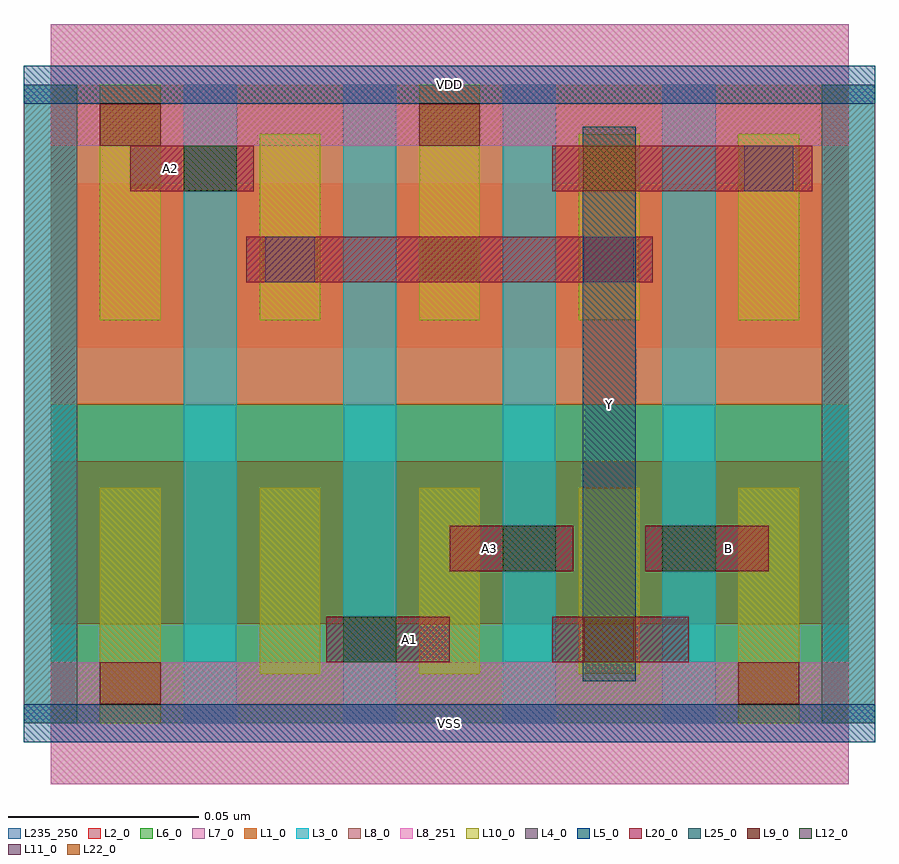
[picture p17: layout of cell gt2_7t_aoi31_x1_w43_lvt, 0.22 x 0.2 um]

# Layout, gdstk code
import gdstk
lib = gdstk.Library(unit=1e-6, precision=5e-10)
def R(c, l, rs):  # rectangles x0, y0, x1, y1
    for r in rs: c.add(gdstk.rectangle(r[:2], r[2:], *l))
def A(c, l, x, y, w, h, nx, ny, dx, dy):  # array of equal rectangles
    R(c, l, [(x+i*dx, y+j*dy, x+i*dx+w, y+j*dy+h) for i in range(nx) for j in range(ny)])
L1_0 = (1, 0)
L2_0 = (2, 0)
L3_0 = (3, 0)
L4_0 = (4, 0)
L5_0 = (5, 0)
L6_0 = (6, 0)
L7_0 = (7, 0)
L8_0 = (8, 0)
L8_251 = (8, 251)
L9_0 = (9, 0)
L10_0 = (10, 0)
L11_0 = (11, 0)
L12_0 = (12, 0)
L20_0 = (20, 0)
L22_0 = (22, 0)
L25_0 = (25, 0)
L235_250 = (235, 250)

gt2_7t_aoi31_x1_w43_lvt = lib.new_cell('gt2_7t_aoi31_x1_w43_lvt')
R(gt2_7t_aoi31_x1_w43_lvt, L1_0, [(0,0.084,0.21,0.168)])
R(gt2_7t_aoi31_x1_w43_lvt, L2_0, [(0,0.026,0.21,0.069), (0,0.099,0.21,0.142)])
A(gt2_7t_aoi31_x1_w43_lvt, L3_0, -0.007, 0, 0.014, 0.168, 6, 1, 0.042, 0)
R(gt2_7t_aoi31_x1_w43_lvt, L4_0, [(-0.007,0,0.007,0.168), (0.203,0,0.217,0.168)])
R(gt2_7t_aoi31_x1_w43_lvt, L5_0, [(-0.007,-0.005,0.217,0.005), (-0.007,0.163,0.217,0.173)])
R(gt2_7t_aoi31_x1_w43_lvt, L6_0, [(0,0,0.21,0.084)])
R(gt2_7t_aoi31_x1_w43_lvt, L7_0, [(0,0.084,0.21,0.168)])
R(gt2_7t_aoi31_x1_w43_lvt, L8_0, [(0,-0.016,0.21,0.016), (0,0.152,0.21,0.184)])
R(gt2_7t_aoi31_x1_w43_lvt, L8_251, [(0,-0.016,0.21,0.016), (0,0.152,0.21,0.184)])
R(gt2_7t_aoi31_x1_w43_lvt, L9_0, [(0.013,0.005,0.029,0.016), (0.181,0.005,0.197,0.016), (0.013,0.152,0.029,0.163), (0.097,0.152,0.113,0.163)])
A(gt2_7t_aoi31_x1_w43_lvt, L10_0, 0.055, 0.013, 0.016, 0.049, 3, 1, 0.042, 0)
R(gt2_7t_aoi31_x1_w43_lvt, L10_0, [(0.013,0,0.029,0.062), (0.181,0,0.197,0.062), (0.013,0.106,0.029,0.168), (0.055,0.106,0.071,0.155), (0.097,0.106,0.113,0.168), (0.139,0.106,0.155,0.155), (0.181,0.106,0.197,0.155)])
R(gt2_7t_aoi31_x1_w43_lvt, L11_0, [(0.1405,0.016,0.1535,0.028), (0.0565,0.116,0.0695,0.128), (0.1405,0.116,0.1535,0.128), (0.1825,0.14,0.1955,0.152)])
R(gt2_7t_aoi31_x1_w43_lvt, L12_0, [(0.077,0.016,0.091,0.028), (0.119,0.04,0.133,0.052), (0.161,0.04,0.175,0.052), (0.035,0.14,0.049,0.152)])
R(gt2_7t_aoi31_x1_w43_lvt, L20_0, [(0.0725,0.016,0.105,0.028), (0.132,0.016,0.168,0.028), (0.105,0.04,0.1375,0.052), (0.1565,0.04,0.189,0.052), (0.0515,0.116,0.1585,0.128), (0.021,0.14,0.0535,0.152), (0.132,0.14,0.2005,0.152)])
R(gt2_7t_aoi31_x1_w43_lvt, L22_0, [(0.14,0.016,0.154,0.028), (0.14,0.14,0.154,0.152)])
R(gt2_7t_aoi31_x1_w43_lvt, L25_0, [(0.14,0.011,0.154,0.157)])
R(gt2_7t_aoi31_x1_w43_lvt, L235_250, [(0,0,0.21,0.168)])
gt2_7t_aoi31_x1_w43_lvt.add(gdstk.Label('VSS', (0.105,0), layer=8, texttype=251))
gt2_7t_aoi31_x1_w43_lvt.add(gdstk.Label('VDD', (0.105,0.168), layer=8, texttype=251))
gt2_7t_aoi31_x1_w43_lvt.add(gdstk.Label('A1', (0.0945,0.022), layer=20, texttype=251))
gt2_7t_aoi31_x1_w43_lvt.add(gdstk.Label('B', (0.1785,0.046), layer=20, texttype=251))
gt2_7t_aoi31_x1_w43_lvt.add(gdstk.Label('A3', (0.1155,0.046), layer=20, texttype=251))
gt2_7t_aoi31_x1_w43_lvt.add(gdstk.Label('A2', (0.0315,0.146), layer=20, texttype=251))
gt2_7t_aoi31_x1_w43_lvt.add(gdstk.Label('Y', (0.147,0.084), layer=25, texttype=251))

lib.write_gds('gt2_7t_aoi31_x1_w43_lvt.gds')
